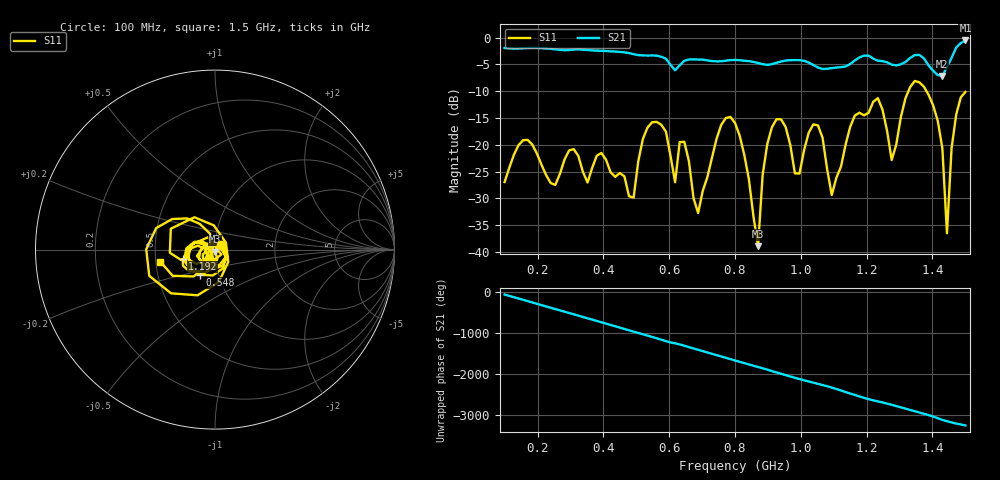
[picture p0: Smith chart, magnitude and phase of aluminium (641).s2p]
! NanoVNA-App
! Date: 2025-09-25 15:00:16
! Start: 100MHz Stop: 1,5GHz Points: 101
! S-Parameter data: F S11 S21 S12 S22
# Hz S RI R 50
!  Frequency  S11_Real  S11_Imag  S21_Real  S21_Imag  S12_Real  S12_Imag  S22_Real  S22_Imag
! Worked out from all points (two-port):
!   101 points, 100 MHz to 1.5 GHz, reference 50 ohm
!   highest |S21| = -0.51 dB at 1.5 GHz (marker M1); lowest = -7.2 dB at 1.43 GHz (marker M2)
!   |S21| within 3 dB of the highest: start of sweep to 573.8 MHz; 1.46 GHz to end of sweep (the widest 2 of 4)
!   lowest |S11| = -38.9 dB at 870 MHz (marker M3), VSWR 1.02, Z = 50.1 - j1.12 ohm
!   |S11| at or under -10 dB: start of sweep to 1.327 GHz; 1.382 GHz to end of sweep
!   S12 and S22 are empty: the file has one direction only
!   S11 on the Smith chart (normalised r, x): 100 MHz: 1.07, +0.06; 548 MHz: 0.82, -0.24; 1.192 GHz: 0.69, -0.08; 1.5 GHz: 0.53, -0.08
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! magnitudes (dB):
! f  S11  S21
! 100 MHz  -27.0  -1.9
! 156 MHz  -19.1  -2.0
! 338 MHz  -25.1  -2.2
! 492 MHz  -29.9  -3.1
! 548 MHz  -15.8  -3.3
! 576 MHz  -16.3  -3.5
! 646 MHz  -19.4  -4.3
! 688 MHz  -32.7  -4.1
! 800 MHz  -15.9  -4.1
! 870 MHz  -38.9  -4.7
! 912 MHz  -16.8  -4.9
! 996 MHz  -25.4  -4.2
! 1.038 GHz  -16.2  -5.1
! 1.094 GHz  -29.4  -5.7
! 1.192 GHz  -14.5  -3.3
! 1.234 GHz  -11.3  -4.3
! 1.276 GHz  -22.8  -5.0
! 1.346 GHz  -8.1  -3.2
! 1.43 GHz  -20.6  -7.2
! 1.444 GHz  -36.5  -5.4
! 1.458 GHz  -20.7  -3.8
! 1.5 GHz  -10.1  -0.5
